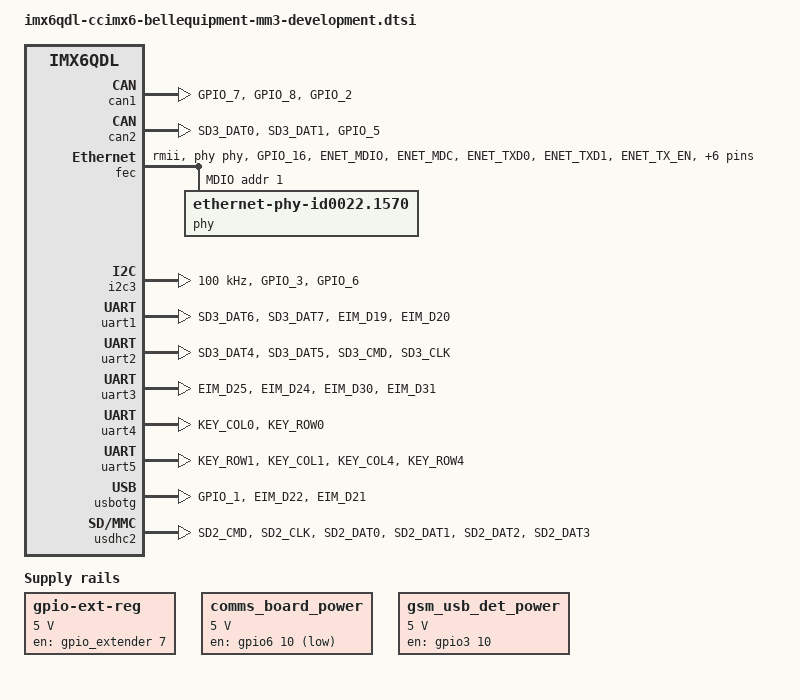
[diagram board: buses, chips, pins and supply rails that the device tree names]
/*
 * Copyright 2014 Digi International, Inc.
 *
 * The code contained herein is licensed under the GNU General Public
 * License. You may obtain a copy of the GNU General Public License
 * Version 2 or later at the following locations:
 *
 * http://www.opensource.org/licenses/gpl-license.html
 * http://www.gnu.org/copyleft/gpl.html
 */

/ {
	5v_reg {
		compatible = "regulator-fixed";
		gpio = <&gpio_extender 7 0>;
		regulator-name = "gpio-ext-reg";
		regulator-always-on;
		enable-active-high;
		regulator-min-microvolt = <5000000>;
		regulator-max-microvolt = <5000000>;
	};

	v4l2_cap_0: v4l2-cap@0 {
		compatible = "fsl,imx6q-v4l2-capture";
		mclk_source = <0>;
		status = "disabled";
	};

	v4l2_cap_1: v4l2-cap@1 {
		compatible = "fsl,imx6q-v4l2-capture";
		mclk_source = <0>;
		status = "disabled";
	};

	v4l2_out: v4l2-out {
		compatible = "fsl,mxc_v4l2_output";
		status = "disabled";
	};

	/* Communications board power regulator */
	comms_board_power: comms_board {
		compatible = "regulator-fixed";
		regulator-name = "comms_pwr_en";
		regulator-min-microvolt = <5000000>;
		regulator-max-microvolt = <5000000>;
		gpio = <&gpio6 10 GPIO_ACTIVE_LOW>;
		enable-active-low;
		pinctrl-names = "default";
		pinctrl-0 = <&pinctrl_comms_board_pwr_en>;
		status = "okay";
		regulator-always-on;
	};

	rmii_clk: clock-rmii {
		/* This clock is provided by the phy (KSZ8061RNB) */
		compatible = "fixed-clock";
		#clock-cells = <0>;
		clock-frequency = <50000000>;
	};

	/* GSM USB detect power regulator */
	gsm_usb_det_power: gsm_usb_det {
		compatible = "regulator-fixed";
		regulator-name = "gsm_usb_det";
		regulator-min-microvolt = <5000000>;
		regulator-max-microvolt = <5000000>;
		gpio = <&gpio3 10 GPIO_ACTIVE_HIGH>;
		enable-active-high;
		pinctrl-names = "default";
		pinctrl-0 = <&pinctrl_gsm_usb_det_en>;
		status = "okay";
		regulator-always-on;
	};
};

&can1 {
	pinctrl-names = "default";
	pinctrl-0 = <&pinctrl_flexcan1>;
	/* This is commented out in TonyM's version */
	stby-gpios = <&gpio1 2 GPIO_ACTIVE_HIGH>;
};

&can2 {
	pinctrl-names = "default";
	pinctrl-0 = <&pinctrl_flexcan2>;
	stby-gpios = <&gpio1 5 GPIO_ACTIVE_HIGH>;
};

/* Check this */
/* old
&clks {
	assigned-clocks = <&clks IMX6QDL_CLK_LDB_DI0_SEL>,
			  <&clks IMX6QDL_CLK_LDB_DI1_SEL>;
	assigned-clock-parents = <&clks IMX6QDL_CLK_PLL5_VIDEO_DIV>,
				 <&clks IMX6QDL_CLK_PLL5_VIDEO_DIV>;
	assigned-clock-rates = <0>, <0>;
};
*/
/* This comes from what TonyM did. Don't quite understand why - need to investigate */
&clks  {
	compatible = "fsl,imx6q-ccm";
	reg = <0x020c4000 0x4000>;
	interrupts = <0 87 IRQ_TYPE_LEVEL_HIGH>,
				<0 88 IRQ_TYPE_LEVEL_HIGH>;
	#clock-cells = <1>;
};

/* Done - removed extra gpio */
&ecspi1 {
	fsl,spi-num-chipselects = <2>;
	cs-gpios = <&gpio2 30 GPIO_ACTIVE_HIGH>;
	pinctrl-names = "default";
	pinctrl-0 = <&pinctrl_ecspi1>;
	status = "disabled";
};

/* 10/100 KSZ8061 PHY for the MM3 */
&fec {
	pinctrl-names = "default";
	pinctrl-0 = <&pinctrl_enet>;
	status = "okay";
	phy-mode = "rmii";
	phy-reset-gpios = <&gpio2 25 GPIO_ACTIVE_LOW>;
	phy-handle = <&phy>;
	clocks = <&clks IMX6QDL_CLK_ENET>,
		<&clks IMX6QDL_CLK_ENET>,
		<&rmii_clk>;

	mdio {
		#address-cells = <1>;
		#size-cells = <0>;

		phy: ethernet-phy@1 {
			compatible = "ethernet-phy-id0022.1570","ethernet-phy-ieee802.3-c22";
			reg = <1>;
		};
	};
};

&gpc {
	fsl,cpu_pupscr_sw2iso = <0xf>;
	fsl,cpu_pupscr_sw = <0xf>;
	fsl,cpu_pdnscr_iso2sw = <0x1>;
	fsl,cpu_pdnscr_iso = <0x1>;
	fsl,ldo-bypass = <0>; /* No ldo-bypass */
	fsl,wdog-reset = <1>; /* watchdog select of reset source */
	pu-supply = <&reg_pu>;
};

/* Done - I2C3 */
&i2c3 {
	clock-frequency = <100000>;
	pinctrl-names = "default";
	pinctrl-0 = <&pinctrl_i2c3>;

/* Done - PCF8563 RTC I2C
   Address = read A3h and write A2h (from data sheet PCF8563 Rev. 11 — 26 October 2015 pg.1)
   this is vastly diffirent from what TonyM did. He only had one device mm3_rtc with address 0x51 
*/
	rtc_read: pcf8563@0xa3 {
		compatible = "nxp,pcf8563";
		reg = <0xa3>;
		wakeup-source;
		#clock-cells = <0>;
		status = "disabled"; // was okay - need to set in .dts
	};
	
	rtc_write: pcf8563@0xa2 {
		compatible = "nxp,pcf8563";
		reg = <0xa2>;
		wakeup-source;
		#clock-cells = <0>;
		status = "disabled"; // was okay - need to set in .dts
	};
};

&iomuxc {
	pinctrl-names = "default";
	pinctrl-0 = <&pinctrl_hog>;

/* Done - Can 1 */
	can1 {
		pinctrl_flexcan1: can1 {
			fsl,pins = <
				MX6QDL_PAD_GPIO_7__FLEXCAN1_TX 0x1b0b0
				MX6QDL_PAD_GPIO_8__FLEXCAN1_RX 0x1b0b0
				MX6QDL_PAD_GPIO_2__GPIO1_IO02  0x1b0b0
			>;
		};
	};

/* Done - Can2 */
	can2 {
		pinctrl_flexcan2: can2 {
			fsl,pins = <
				MX6QDL_PAD_SD3_DAT0__FLEXCAN2_TX 0x1b0b0
				MX6QDL_PAD_SD3_DAT1__FLEXCAN2_RX 0x1b0b0
				MX6QDL_PAD_GPIO_5__GPIO1_IO05    0x1b0b0
			>;
		};
	};

/* Done - SPI IO Co-processor bus */
	ecspi1 {
		pinctrl_ecspi1: ecspi1 {
			fsl,pins = <
				MX6QDL_PAD_EIM_D17__ECSPI1_MISO 0x100b1
				MX6QDL_PAD_EIM_D18__ECSPI1_MOSI 0x100b1
				MX6QDL_PAD_EIM_D16__ECSPI1_SCLK 0x100b1
				MX6QDL_PAD_EIM_EB2__GPIO2_IO30  0x100b1
				MX6QDL_PAD_EIM_CS0__GPIO2_IO23  0x100b1
			>;
		};
	};

/* Ethernet - Using what TonyM did, don't want to go through this whole rigmarole */
	enet {
		pinctrl_enet: enet {
			fsl,pins = <
				MX6QDL_PAD_GPIO_16__ENET_REF_CLK	0x4001b0a8
				MX6QDL_PAD_ENET_MDIO__ENET_MDIO		0x0001b098
				MX6QDL_PAD_ENET_MDC__ENET_MDC		0x0001b098
				MX6QDL_PAD_ENET_TXD0__ENET_TX_DATA0	0x0001b098
				MX6QDL_PAD_ENET_TXD1__ENET_TX_DATA1	0x0001b098
				MX6QDL_PAD_ENET_TX_EN__ENET_TX_EN	0x0001b098
				MX6QDL_PAD_ENET_RX_ER__ENET_RX_ER	0x0001b0b0
				MX6QDL_PAD_ENET_RXD0__ENET_RX_DATA0	0x0001b0b0
				MX6QDL_PAD_ENET_RXD1__ENET_RX_DATA1	0x0001b0b0
				MX6QDL_PAD_ENET_CRS_DV__ENET_RX_EN	0x0001b0b0
				MX6QDL_PAD_EIM_OE__GPIO2_IO25		0x00000018
			>;
		};
	};

/* Used for the Power Management IC (pmic)  */
	i2c2 {
		pinctrl_i2c2: i2c2 {
			fsl,pins = <
				MX6QDL_PAD_KEY_COL3__I2C2_SCL 0x4001b8b1
				MX6QDL_PAD_KEY_ROW3__I2C2_SDA 0x4001b8b1
			>;
		};
	};

/* Done - PCF8563 RTC (only connected device) */
	i2c3 {
		pinctrl_i2c3: i2c3 {
			fsl,pins = <
				MX6QDL_PAD_GPIO_3__I2C3_SCL 0x4001b8b1
				MX6QDL_PAD_GPIO_6__I2C3_SDA 0x4001b8b1
			>;
		};
	};

/* Done - GPS */
	uart1 {
		pinctrl_uart1: uart1 {
			fsl,pins = <
				MX6QDL_PAD_SD3_DAT6__UART1_RX_DATA 0x1b0b1
				MX6QDL_PAD_SD3_DAT7__UART1_TX_DATA 0x1b0b1
				/* These aren't used, but wired up */
				MX6QDL_PAD_EIM_D19__UART1_CTS_B 0x1b0b1
				MX6QDL_PAD_EIM_D20__UART1_RTS_B 0x1b0b1
			>;
		};
	};

/* Done - Bluetooth
   Found a statement about the Bluetooth UART2 connection here:
   https://www.digi.com/resources/documentation/digidocs/90001546/reference/bsp/cc6/r_bluetooth.htm
*/
	uart2 {
		pinctrl_uart2: uart2 {
			fsl,pins = <
				MX6QDL_PAD_SD3_DAT4__UART2_RX_DATA  0x1b0b1
				MX6QDL_PAD_SD3_DAT5__UART2_TX_DATA  0x1b0b1
				MX6QDL_PAD_SD3_CMD__UART2_CTS_B     0x1b0b1
				MX6QDL_PAD_SD3_CLK__UART2_RTS_B     0x1b0b1
			>;
		};
	};

/* Done - GSM UART */
	uart3 {
		pinctrl_uart3: uart3 {
			fsl,pins = <
				MX6QDL_PAD_EIM_D25__UART3_RX_DATA 0x1b0b1
				MX6QDL_PAD_EIM_D24__UART3_TX_DATA 0x1b0b1
				MX6QDL_PAD_EIM_D30__UART3_CTS_B   0x1b0b1
				MX6QDL_PAD_EIM_D31__UART3_RTS_B   0x1b0b1
			>;
		};
	};

/* Done - CONSOLE */
	uart4 {
		pinctrl_uart4: uart4 {
			fsl,pins = <
				MX6QDL_PAD_KEY_COL0__UART4_TX_DATA 0x1b0b1
				MX6QDL_PAD_KEY_ROW0__UART4_RX_DATA 0x1b0b1
			>;
		};
	};

/* Done - IRIDIUM */
	uart5 {
		pinctrl_uart5: uart5 {
			fsl,pins = <
				MX6QDL_PAD_KEY_ROW1__UART5_RX_DATA 0x1b0b1
				MX6QDL_PAD_KEY_COL1__UART5_TX_DATA 0x1b0b1
				MX6QDL_PAD_KEY_COL4__UART5_RTS_B   0x1b0b1
				MX6QDL_PAD_KEY_ROW4__UART5_CTS_B   0x1b0b1
			>;
		};
	};

/* Done - USB OTG */
	usbotg {
		pinctrl_usbotg: usbotg {
			fsl,pins = <
				MX6QDL_PAD_GPIO_1__USB_OTG_ID 0x17059
				MX6QDL_PAD_EIM_D22__USB_OTG_PWR 0x17059
				MX6QDL_PAD_EIM_D21__USB_OTG_OC 0x17059
			>;
		};
	};

/* Done - SD card */
	usdhc2 {
		pinctrl_usdhc2: usdhc2 {
			fsl,pins = <
				MX6QDL_PAD_SD2_CMD__SD2_CMD    0x17071
				MX6QDL_PAD_SD2_CLK__SD2_CLK    0x10071
				MX6QDL_PAD_SD2_DAT0__SD2_DATA0 0x17071
				MX6QDL_PAD_SD2_DAT1__SD2_DATA1 0x17071
				MX6QDL_PAD_SD2_DAT2__SD2_DATA2 0x17071
				MX6QDL_PAD_SD2_DAT3__SD2_DATA3 0x17071
			>;
		};

		pinctrl_usdhc2_100mhz: usdhc2-100mhz {
			fsl,pins = <
				MX6QDL_PAD_SD2_CMD__SD2_CMD    0x170B1
				MX6QDL_PAD_SD2_CLK__SD2_CLK    0x100B1
				MX6QDL_PAD_SD2_DAT0__SD2_DATA0 0x170B1
				MX6QDL_PAD_SD2_DAT1__SD2_DATA1 0x170B1
				MX6QDL_PAD_SD2_DAT2__SD2_DATA2 0x170B1
				MX6QDL_PAD_SD2_DAT3__SD2_DATA3 0x170B1
			>;
		};

		pinctrl_usdhc2_200mhz: usdhc2-200mhz {
			fsl,pins = <
				MX6QDL_PAD_SD2_CMD__SD2_CMD    0x170F1
				MX6QDL_PAD_SD2_CLK__SD2_CLK    0x100F1
				MX6QDL_PAD_SD2_DAT0__SD2_DATA0 0x170F1
				MX6QDL_PAD_SD2_DAT1__SD2_DATA1 0x170F1
				MX6QDL_PAD_SD2_DAT2__SD2_DATA2 0x170F1
				MX6QDL_PAD_SD2_DAT3__SD2_DATA3 0x170F1
			>;
		};
	};

/* Zero mention about the eMMC in the digi ConnectCore6 SOM and ConnectCore6 SOM SBC documentation
   Found an example here:
   https://www.digi.com/resources/documentation/digidocs/90001546/reference/bsp/cc6/r_mmc-sd-sdio.htm
   and here:
   https://www.digi.com/resources/documentation/digidocs/embedded/dey/3.2/cc6/bsp_r_mmc-sd-sdio_cc6cc6qp
*/
	usdhc4 {
		pinctrl_usdhc4: usdhc4 {
			  fsl,pins = <
				  MX6QDL_PAD_SD4_CMD__SD4_CMD    0x17059
				  MX6QDL_PAD_SD4_CLK__SD4_CLK    0x10059
				  MX6QDL_PAD_SD4_DAT0__SD4_DATA0 0x17059
				  MX6QDL_PAD_SD4_DAT1__SD4_DATA1 0x17059
				  MX6QDL_PAD_SD4_DAT2__SD4_DATA2 0x17059
				  MX6QDL_PAD_SD4_DAT3__SD4_DATA3 0x17059
				  MX6QDL_PAD_SD4_DAT4__SD4_DATA4 0x17059
				  MX6QDL_PAD_SD4_DAT5__SD4_DATA5 0x17059
				  MX6QDL_PAD_SD4_DAT6__SD4_DATA6 0x17059
				  MX6QDL_PAD_SD4_DAT7__SD4_DATA7 0x17059
				  >;
		  };

		pinctrl_usdhc4_100mhz: usdhc4-100mhz {
			fsl,pins = <
				MX6QDL_PAD_SD4_CMD__SD4_CMD    0x170B9
				MX6QDL_PAD_SD4_CLK__SD4_CLK    0x100B9
				MX6QDL_PAD_SD4_DAT0__SD4_DATA0 0x170B9
				MX6QDL_PAD_SD4_DAT1__SD4_DATA1 0x170B9
				MX6QDL_PAD_SD4_DAT2__SD4_DATA2 0x170B9
				MX6QDL_PAD_SD4_DAT3__SD4_DATA3 0x170B9
				MX6QDL_PAD_SD4_DAT4__SD4_DATA4 0x170B9
				MX6QDL_PAD_SD4_DAT5__SD4_DATA5 0x170B9
				MX6QDL_PAD_SD4_DAT6__SD4_DATA6 0x170B9
				MX6QDL_PAD_SD4_DAT7__SD4_DATA7 0x170B9
			>;
		};

		pinctrl_usdhc4_200mhz: usdhc4-200mhz {
			fsl,pins = <
				MX6QDL_PAD_SD4_CMD__SD4_CMD    0x170F9
				MX6QDL_PAD_SD4_CLK__SD4_CLK    0x100F9
				MX6QDL_PAD_SD4_DAT0__SD4_DATA0 0x170F9
				MX6QDL_PAD_SD4_DAT1__SD4_DATA1 0x170F9
				MX6QDL_PAD_SD4_DAT2__SD4_DATA2 0x170F9
				MX6QDL_PAD_SD4_DAT3__SD4_DATA3 0x170F9
				MX6QDL_PAD_SD4_DAT4__SD4_DATA4 0x170F9
				MX6QDL_PAD_SD4_DAT5__SD4_DATA5 0x170F9
				MX6QDL_PAD_SD4_DAT6__SD4_DATA6 0x170F9
				MX6QDL_PAD_SD4_DAT7__SD4_DATA7 0x170F9
			>;
		};
	};

	comms_board_pwr_en {
		pinctrl_comms_board_pwr_en: comms_board_pwr_en {
			fsl,pins = <
				MX6QDL_PAD_NANDF_RB0__GPIO6_IO10        0x80000000
			>;
		};
	};

	gsm_usb_det_en {
		pinctrl_gsm_usb_det_en: gsm_usb_det_en {
			fsl,pins = <
				/* GSM VUSB Enable */
				MX6QDL_PAD_EIM_DA10__GPIO3_IO10         0x80000000
			>;
		};
	};

	hog {
		pinctrl_hog: hog {
			fsl,pins = <
				/* LEDs - Checked */
				/* USER_LED0 */
				MX6QDL_PAD_NANDF_D2__GPIO2_IO02		0x80000000
				/* USER_LED1 */
				MX6QDL_PAD_NANDF_D3__GPIO2_IO03     0x80000000
				/* USER_LED2 */
				MX6QDL_PAD_NANDF_D4__GPIO2_IO04     0x80000000

				/* Test Points - Checked */
				/* EXP_GPIO_2 */
				MX6QDL_PAD_NANDF_D7__GPIO2_IO07     0x80000000
				/* EXP_GPIO_3 */
				MX6QDL_PAD_EIM_CS1__GPIO2_IO24      0x80000000

				/* BT_DISABLE_N - Checked */
				MX6QDL_PAD_GPIO_9__GPIO1_IO09       0x80000000

				/* GSM - Checked */
				/* LVDS1_PEN_IRQ_N - Changed to CAPGD_GSM */
				MX6QDL_PAD_EIM_D23__GPIO3_IO23      0x80000000
				/* XBEE_ON / SLEEP_N - Changed to CAPFILT_GSM */
				MX6QDL_PAD_EIM_D27__GPIO3_IO27      0x80000000
				/* This was not assigned - but on the schematic 5VSYSGD_GSM */
				MX6QDL_PAD_EIM_A25__GPIO5_IO02      0x80000000
				/* EXP_GPIO_4 - Changed to UCGSM_PWRMON */
				MX6QDL_PAD_EIM_EB0__GPIO2_IO28      0x80000000
				/* EXP_GPIO_6 - Changed to GSM_ON_OFF */
				MX6QDL_PAD_GPIO_18__GPIO7_IO13      0x80000000
				/* EXP_GPIO_7 - Changed to GSM_RESET */
				MX6QDL_PAD_GPIO_19__GPIO4_IO05      0x80000000
				/* PFO_GSM */
				MX6QDL_PAD_CSI0_DATA_EN__GPIO5_IO20 0x80000000

				/* Iridium - Checked */
				/* IRIDIUM_NET */
				MX6QDL_PAD_NANDF_D6__GPIO2_IO06     0x80000000
				/* XBEE_RESET_N  - Changed to PFO_IRI */
				MX6QDL_PAD_EIM_D28__GPIO3_IO28      0x80000000
				/* XBEE_SLEEP_RQ - Changed to 5VSYSGD_IRI */
				MX6QDL_PAD_EIM_D29__GPIO3_IO29      0x80000000
				/* EXP_GPIO_5 - Changed to IRIDIUM_ON_OFF */
				MX6QDL_PAD_EIM_EB1__GPIO2_IO29      0x80000000
				/* This was assigned from PCIe_VCC to CAPFLT_IRI */
				MX6QDL_PAD_EIM_LBA__GPIO2_IO27      0x80000000
				/* This was CSI1_RESET_N changed to CAPGD_IRI */
				MX6QDL_PAD_EIM_DA15__GPIO3_IO15     0x80000000

				/* USB_HUB_RESET_N - TonyM did not have this */
				/*MX6QDL_PAD_EIM_DA10__GPIO3_IO10     0x80000000 */

				/* Communications board */
				/* This was assigned from CSI RESET N to COMMS_PWRCYCLE */
				MX6QDL_PAD_SD3_DAT2__GPIO7_IO06     0x80000000
				/* This was assigned from PCIE WAKE N to PWRGD_COMMS */
				MX6QDL_PAD_SD3_DAT3__GPIO7_IO07     0x80000000

				/* IO Controller */
				/* was EXP_GPIO_0 changed to IO_CONTR_RST */
				MX6QDL_PAD_NANDF_D5__GPIO2_IO05     0x80000000
				/* IO IRQ */
				MX6QDL_PAD_EIM_CS0__GPIO2_IO23      0x80000000

				/* SPI (temp) */
				/* SPI CS#  */
				//MX6QDL_PAD_EIM_EB2__GPIO2_IO30    0x80000000
			>;
		};
	};
};

/* GPS */
&uart1 {
	pinctrl-names = "default";
	pinctrl-0 = <&pinctrl_uart1>;
	uart-has-rtscts;
	digi,pwr-en-gpio = <&gpio2 26 GPIO_ACTIVE_HIGH>;
};

/* BLUETOOTH */
&uart2 {
	pinctrl-names = "default";
	pinctrl-0 = <&pinctrl_uart2>;
	uart-has-rtscts;
};

/* GSM UART */
&uart3 {
	pinctrl-names = "default";
	pinctrl-0 = <&pinctrl_uart3>;
	uart-has-rtscts;
	digi,pwr-en-gpio = <&gpio2 26 GPIO_ACTIVE_HIGH>;
};

/* CONSOLE */
&uart4 {
	pinctrl-names = "default";
	pinctrl-0 = <&pinctrl_uart4>;
};

/* IRIDIUM */
&uart5 {
	pinctrl-names = "default";
	pinctrl-0 = <&pinctrl_uart5>;
	uart-has-rtscts;
};

/* GSM USB */
&usbh1 {
	fsl,reset-gpio = <&gpio3 10 GPIO_ACTIVE_HIGH>;
};

/* USB OTG */
&usbotg {
	pinctrl-names = "default";
	pinctrl-0 = <&pinctrl_usbotg>;
	power-active-high;
};

/* SD Card */
&usdhc2 {
	pinctrl-names = "default", "state_100mhz", "state_200mhz";
	pinctrl-0 = <&pinctrl_usdhc2>;
	pinctrl-1 = <&pinctrl_usdhc2_100mhz>;
	pinctrl-2 = <&pinctrl_usdhc2_200mhz>;
	broken-cd;
	no-1-8-v;
	keep-power-in-suspend;
	enable-sdio-wakeup;
	vqmmc-supply = <&ldo9>;
};

